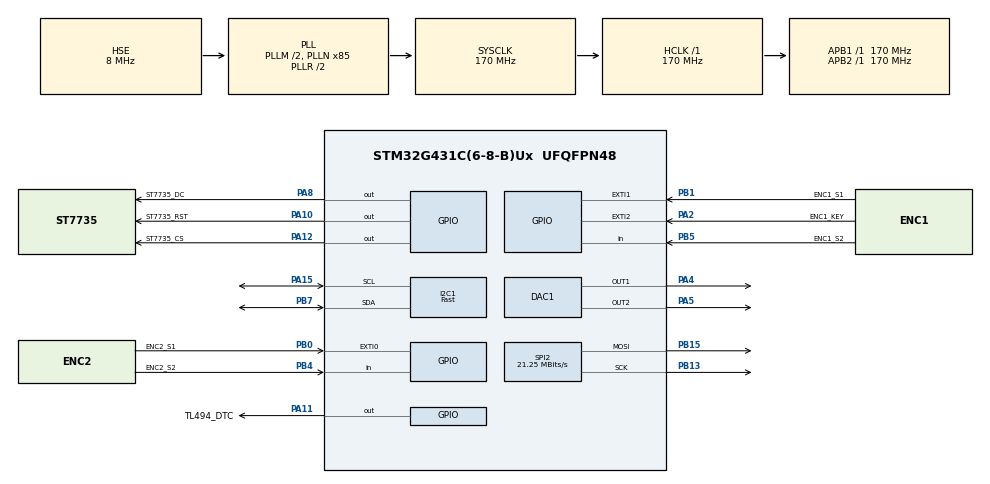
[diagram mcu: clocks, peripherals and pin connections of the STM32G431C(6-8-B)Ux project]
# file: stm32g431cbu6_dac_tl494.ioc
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DAC1.DAC_Channel-DAC_OUT2=DAC_CHANNEL_2
DAC1.DAC_OutputBuffer-DAC_OUT1=DAC_OUTPUTBUFFER_DISABLE
DAC1.DAC_OutputBuffer-DAC_OUT2=DAC_OUTPUTBUFFER_DISABLE
I2C1.I2C_Speed_Mode=I2C_Fast
I2C1.Timing=0x40621236
Mcu.Family=STM32G4
Mcu.Name=STM32G431C(6-8-B)Ux
Mcu.Package=UFQFPN48
NVIC.EXTI0_IRQn=true\:0\:0\:false\:false\:true\:true\:true\:true
NVIC.EXTI1_IRQn=true\:0\:0\:false\:false\:true\:true\:true\:true
NVIC.EXTI2_IRQn=true\:0\:0\:false\:false\:true\:true\:true\:true
NVIC.PriorityGroup=NVIC_PRIORITYGROUP_4
PA10.GPIO_Label=ST7735_RST
PA10.PinState=GPIO_PIN_SET
PA10.Signal=GPIO_Output
PA11.GPIO_Label=TL494_DTC
PA11.GPIO_ModeDefaultOutputPP=GPIO_MODE_OUTPUT_OD
PA11.GPIO_PuPd=GPIO_NOPULL
PA11.PinState=GPIO_PIN_SET
PA11.Signal=GPIO_Output
PA12.GPIO_Label=ST7735_CS
PA12.PinState=GPIO_PIN_SET
PA12.Signal=GPIO_Output
PA13.Mode=Trace_Asynchronous_SW
PA13.Signal=SYS_JTMS-SWDIO
PA14.Mode=Trace_Asynchronous_SW
PA14.Signal=SYS_JTCK-SWCLK
PA15.Mode=I2C
PA15.Signal=I2C1_SCL
PA2.GPIO_Label=ENC1_KEY
PA2.Signal=GPXTI2
PA4.Signal=COMP_DAC11_group
PA5.Signal=COMP_DAC12_group
PA8.GPIO_Label=ST7735_DC
PA8.PinState=GPIO_PIN_SET
PA8.Signal=GPIO_Output
PB0.GPIO_Label=ENC2_S1
PB0.Signal=GPXTI0
PB1.GPIO_Label=ENC1_S1
PB1.Signal=GPXTI1
PB13.Mode=TX_Only_Simplex_Unidirect_Master
PB13.Signal=SPI2_SCK
PB15.Mode=TX_Only_Simplex_Unidirect_Master
PB15.Signal=SPI2_MOSI
PB3.Mode=Trace_Asynchronous_SW
PB3.Signal=SYS_JTDO-SWO
PB4.GPIO_Label=ENC2_S2
PB4.Signal=GPIO_Input
PB5.GPIO_Label=ENC1_S2
PB5.Signal=GPIO_Input
PB7.Mode=I2C
PB7.Signal=I2C1_SDA
PC14-OSC32_IN.Mode=LSE-External-Oscillator
PC14-OSC32_IN.Signal=RCC_OSC32_IN
PC15-OSC32_OUT.Mode=LSE-External-Oscillator
PC15-OSC32_OUT.Signal=RCC_OSC32_OUT
PF0-OSC_IN.Mode=HSE-External-Oscillator
PF0-OSC_IN.Signal=RCC_OSC_IN
PF1-OSC_OUT.Mode=HSE-External-Oscillator
PF1-OSC_OUT.Signal=RCC_OSC_OUT
ProjectManager.HeapSize=0x200
ProjectManager.StackSize=0x400
ProjectManager.TargetToolchain=CMake
RCC.ADC12Freq_Value=170000000
RCC.AHBFreq_Value=170000000
RCC.APB1Freq_Value=170000000
RCC.APB1TimFreq_Value=170000000
RCC.APB2Freq_Value=170000000
RCC.APB2TimFreq_Value=170000000
RCC.CortexFreq_Value=170000000
RCC.EXTERNAL_CLOCK_VALUE=12288000
RCC.EnableCSSLSE=true
RCC.EnbaleCSS=true
RCC.HCLKFreq_Value=170000000
RCC.HSE_VALUE=8000000
RCC.HSI48_VALUE=48000000
RCC.HSI_VALUE=16000000
RCC.PLLM=RCC_PLLM_DIV2
RCC.PLLN=85
RCC.PLLSourceVirtual=RCC_PLLSOURCE_HSE
RCC.RTCClockSelection=RCC_RTCCLKSOURCE_LSE
RCC.SYSCLKFreq_VALUE=170000000
RCC.SYSCLKSource=RCC_SYSCLKSOURCE_PLLCLK
RCC.USBFreq_Value=170000000
RCC.VCOOutputFreq_Value=340000000
SH.COMP_DAC11_group.0=DAC1_OUT1,DAC_OUT1
SH.COMP_DAC12_group.0=DAC1_OUT2,DAC_OUT2
SPI2.BaudRatePrescaler=SPI_BAUDRATEPRESCALER_8
SPI2.CalculateBaudRate=21.25 MBits/s
SPI2.DataSize=SPI_DATASIZE_8BIT
SPI2.Direction=SPI_DIRECTION_2LINES
SPI2.Mode=SPI_MODE_MASTER
SPI2.NSSPMode=SPI_NSS_PULSE_DISABLE
SPI2.VirtualType=VM_MASTER
SYS.VoltageScaling=SYSCFG_VREFBUF_VOLTAGE_SCALE0
VP_RTC_VS_RTC_Activate.Mode=RTC_Enabled
VP_SYS_VS_DBSignals.Mode=DisableDeadBatterySignals
VREF+.Mode=InternalMode
VREF+.Signal=VREFBUF_OUT
board=custom

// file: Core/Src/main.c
/* USER CODE BEGIN Header */
/**
 ******************************************************************************
 * @file           : main.c
 * @brief          : Regulated power supply
 ******************************************************************************
 *WHAT I WANT FROM THIS PROJECT:
 *algorithm which transform set point of Voltage and Current into real output
 *current, power limitation feature
 *self calibration of this algorithm (is it 1,5,10V)
 *INA current calibration procedure (is it 0.1mA,1A)
 *use INA only for calibration, use ADC to read values
 *modes: main, soldering iron, usb (QC)
 *graph (sliding) and logs
 *stylish menu with sliders
 *temperature control
 *fun instead of buzzer
 *alarms notification feature: high temp, current limit,
 *FREERTOS ??
 *CMSIS ??
 *
 *
 *PERIF functions -> are for further optimization
 *
 *WHAT I FOUND:
 *current can be regulated only from 300 mA - this is lm358 problem
 *voltage rising from 0 to 20 V - 80ms
 *voltage rising from 0 to 1V - 80ms due to overshoot
 *voltage rising from 0 to 3 V - 20ms
 *overshoot from 0 to 1 V - 1.8V
 *overshoot from 0 to 3 V - 3.6V
 *overshoot from 0 to 5 V - 5.2V

 //flash writing
 STM32G431:
 quantity of pages: 63
 last Flash page -> 0x0801 F800 - 0x0801 FFFF
 quantity of banks -> only 1
 only 64 bit double word can be programmed

 TO DO:
 1) Permanent control function to maintain stable voltage/current
 2) Permanent CV/CC check
 3) Current jumps are give an overshoot in CTRL_SP_ReachBySteps

 ******************************************************************************
 */
/* USER CODE END Header */
#include "main.h"

/* USER CODE BEGIN Includes */
#include <stdio.h>

#include "MGL/MGL.h"
#include "INA226/M_INA226.h"

#include "app_types.h"
#include "ctrl.h"
#include "input.h"
#include "display.h"
#include "main.h"

/* USER CODE END Includes */

/* USER CODE BEGIN PD */
//INA settings
/////////////////////////////////////////////////////
#define INA_CALIB_VAL 2450U
/* USER CODE END PD */

DAC_HandleTypeDef hdac1;

I2C_HandleTypeDef hi2c1;

RTC_HandleTypeDef hrtc;

SPI_HandleTypeDef hspi2;

/* USER CODE BEGIN PV */
//Flash erase structure
////////////////////////////////////////////////////////////
FLASH_EraseInitTypeDef pflash;

//Encoder library structures
////////////////////////////////////////////////////////////
//extern menc_struct_type menc1, menc2; //Encoder library structures

//Timers for ms delay
////////////////////////////////////////////////////////////
uint32_t tmr_disp_screen_refresh;
uint32_t tmr_debug;

/* USER CODE END PV */

void SystemClock_Config(void);
static void MX_GPIO_Init(void);
static void MX_RTC_Init(void);
static void MX_I2C1_Init(void);
static void MX_SPI2_Init(void);
static void MX_DAC1_Init(void);
/* USER CODE BEGIN PFP */

//Encoders IRQ
////////////////////////////////////////////////////////////
void HAL_GPIO_EXTI_Callback(uint16_t GPIO_Pin) {
	if (GPIO_Pin == ENC1_KEY_Pin) {
		MENC_ClickHandlerIRQ(&menc1);
	}
	if (GPIO_Pin == ENC1_S1_Pin) {
		MENC_TurnHandlerIRQ(&menc1);
	}
	if (GPIO_Pin == ENC2_S1_Pin) {
		MENC_TurnHandlerIRQ(&menc2);
	}
}
/* USER CODE END PFP */

int main(void)
{

  /* MCU Configuration--------------------------------------------------------*/

  /* Reset of all peripherals, Initializes the Flash interface and the Systick. */
  HAL_Init();

  /* Configure the system clock */
  SystemClock_Config();

  /* Initialize all configured peripherals */
  MX_GPIO_Init();
  MX_RTC_Init();
  MX_I2C1_Init();
  MX_SPI2_Init();
  MX_DAC1_Init();
  /* USER CODE BEGIN 2 */
	//////////////////////////////////////////////////////////////////////////////////////
	////////////////////////////////INT MAIN()////////////////////////////////////////////
	//////////////////////////////////////////////////////////////////////////////////////
	HAL_Delay(10); //some delay after periphery initialization

	//Main structure initialization
	//////////////////////////////////////////////////////////////////////////////////////
	rps_type rps = { 0 };

	//RPS and VAW
	//////////////////////////////////////////////////////////////////////////////////////
	HAL_DAC_Start(&hdac1, DAC_VOLT_CH);
	HAL_DAC_Start(&hdac1, DAC_CURR_CH);
	INA_Init();
	HAL_Delay(10); //some delay after periphery initialization
	if (HAL_I2C_IsDeviceReady(&hi2c1, INA_HAL_I2C_ADDRESS, 1, 0xff) != 0) {
		rps.err.bit.ina226_off = 1;
	}
	INA_SetCalVal(INA_CALIB_VAL);

	CTRL_SAVE_TableInit(&rps);
	CTRL_SAVE_CalcDACSteps(&rps, _VOLT);
	CTRL_SAVE_CalcDACSteps(&rps, _CURR);

	//Input
	//////////////////////////////////////////////////////////////////////////////////////
	INPUT_EncStructInit();

	//Display
	//////////////////////////////////////////////////////////////////////////////////////
	DISP_GraphBarsStructInit(&rps);
	MGL_DriverInit();
	DISP_StartPage(&rps);

	//Control flags and variables initialization states
	//////////////////////////////////////////////////////////////////////////////////////
	rps.fl.ctrl_stop = 1; //tl494 control is stopped

#ifdef USE_DEBUG
	printf("While start\n\r");
	CTRL_SAVE_PrintSavedTables();
	//rps.val.i_sp_val = rps.val.i_max;
#endif

//////////////////////////////////////////////////////////////////////////////////////
  /* USER CODE END 2 */

  /* Infinite loop */
  /* USER CODE BEGIN WHILE */

	while (1) {
		INPUT_EncHandler(&rps);

		if (MillisDelay(&tmr_disp_screen_refresh, SCREEN_REFRESH_RATE)) {
			CTRL_VAW_Conversion(&rps);
			DISP_MeasPage(&rps);
		}

		CTRL_Handler(&rps);

#ifdef USE_DEBUG
//		if (MillisDelay(&ms_tmr_debug, DEBUG_REFRESH)) {
//			printf("U:");
//			SERV_Print_FakeFloat(rps.val.volt, 5, 2);
//			printf("   I:");
//			SERV_Print_FakeFloat(rps.val.curr, 5, 3);
//			printf("   P:");
//			SERV_Print_FakeFloat(rps.val.watt, 5, 1);
//
//			printf("   U sp:");
//			SERV_Print_FakeFloat(rps.val.u_sp_val, 5, 2);
//			printf("   I sp:");
//			SERV_Print_FakeFloat(rps.val.i_sp_val, 5, 3);
//
//			printf("   DAC U:%u", rps.val.u_dac);
//			printf("   DAC I:%u\n", rps.val.i_dac);
//
//			printf("RPS Error No: %x\n", rps.err.all_errors);
//			MGL_PrintErr();
//		}
#endif
		//////////////////////////////////////////////////////////////////////////////////////
		////////////////////////////////////END///////////////////////////////////////////////
		//////////////////////////////////////////////////////////////////////////////////////

    /* USER CODE END WHILE */

	}
}

void SystemClock_Config(void)
{
  RCC_OscInitTypeDef RCC_OscInitStruct = {0};
  RCC_ClkInitTypeDef RCC_ClkInitStruct = {0};

  /** Configure the main internal regulator output voltage
  */
  HAL_PWREx_ControlVoltageScaling(PWR_REGULATOR_VOLTAGE_SCALE1_BOOST);

  /** Configure LSE Drive Capability
  */
  HAL_PWR_EnableBkUpAccess();
  __HAL_RCC_LSEDRIVE_CONFIG(RCC_LSEDRIVE_LOW);

  /** Initializes the RCC Oscillators according to the specified parameters
  * in the RCC_OscInitTypeDef structure.
  */
  RCC_OscInitStruct.OscillatorType = RCC_OSCILLATORTYPE_HSE|RCC_OSCILLATORTYPE_LSE;
  RCC_OscInitStruct.HSEState = RCC_HSE_ON;
  RCC_OscInitStruct.LSEState = RCC_LSE_ON;
  RCC_OscInitStruct.PLL.PLLState = RCC_PLL_ON;
  RCC_OscInitStruct.PLL.PLLSource = RCC_PLLSOURCE_HSE;
  RCC_OscInitStruct.PLL.PLLM = RCC_PLLM_DIV2;
  RCC_OscInitStruct.PLL.PLLN = 85;
  RCC_OscInitStruct.PLL.PLLP = RCC_PLLP_DIV2;
  RCC_OscInitStruct.PLL.PLLQ = RCC_PLLQ_DIV2;
  RCC_OscInitStruct.PLL.PLLR = RCC_PLLR_DIV2;
  if (HAL_RCC_OscConfig(&RCC_OscInitStruct) != HAL_OK)
  {
    Error_Handler();
  }

  /** Initializes the CPU, AHB and APB buses clocks
  */
  RCC_ClkInitStruct.ClockType = RCC_CLOCKTYPE_HCLK|RCC_CLOCKTYPE_SYSCLK
                              |RCC_CLOCKTYPE_PCLK1|RCC_CLOCKTYPE_PCLK2;
  RCC_ClkInitStruct.SYSCLKSource = RCC_SYSCLKSOURCE_PLLCLK;
  RCC_ClkInitStruct.AHBCLKDivider = RCC_SYSCLK_DIV1;
  RCC_ClkInitStruct.APB1CLKDivider = RCC_HCLK_DIV1;
  RCC_ClkInitStruct.APB2CLKDivider = RCC_HCLK_DIV1;

  if (HAL_RCC_ClockConfig(&RCC_ClkInitStruct, FLASH_LATENCY_4) != HAL_OK)
  {
    Error_Handler();
  }

  /** Enables the Clock Security System
  */
  HAL_RCC_EnableCSS();

  /** Enables the Clock Security System
  */
  HAL_RCC_EnableLSECSS();
}

static void MX_DAC1_Init(void)
{

  DAC_ChannelConfTypeDef sConfig = {0};

  /** DAC Initialization
  */
  hdac1.Instance = DAC1;
  if (HAL_DAC_Init(&hdac1) != HAL_OK)
  {
    Error_Handler();
  }

  /** DAC channel OUT1 config
  */
  sConfig.DAC_HighFrequency = DAC_HIGH_FREQUENCY_INTERFACE_MODE_AUTOMATIC;
  sConfig.DAC_DMADoubleDataMode = DISABLE;
  sConfig.DAC_SignedFormat = DISABLE;
  sConfig.DAC_SampleAndHold = DAC_SAMPLEANDHOLD_DISABLE;
  sConfig.DAC_Trigger = DAC_TRIGGER_NONE;
  sConfig.DAC_Trigger2 = DAC_TRIGGER_NONE;
  sConfig.DAC_OutputBuffer = DAC_OUTPUTBUFFER_DISABLE;
  sConfig.DAC_ConnectOnChipPeripheral = DAC_CHIPCONNECT_EXTERNAL;
  sConfig.DAC_UserTrimming = DAC_TRIMMING_FACTORY;
  if (HAL_DAC_ConfigChannel(&hdac1, &sConfig, DAC_CHANNEL_1) != HAL_OK)
  {
    Error_Handler();
  }

  /** DAC channel OUT2 config
  */
  if (HAL_DAC_ConfigChannel(&hdac1, &sConfig, DAC_CHANNEL_2) != HAL_OK)
  {
    Error_Handler();
  }

}

static void MX_I2C1_Init(void)
{

  hi2c1.Instance = I2C1;
  hi2c1.Init.Timing = 0x40621236;
  hi2c1.Init.OwnAddress1 = 0;
  hi2c1.Init.AddressingMode = I2C_ADDRESSINGMODE_7BIT;
  hi2c1.Init.DualAddressMode = I2C_DUALADDRESS_DISABLE;
  hi2c1.Init.OwnAddress2 = 0;
  hi2c1.Init.OwnAddress2Masks = I2C_OA2_NOMASK;
  hi2c1.Init.GeneralCallMode = I2C_GENERALCALL_DISABLE;
  hi2c1.Init.NoStretchMode = I2C_NOSTRETCH_DISABLE;
  if (HAL_I2C_Init(&hi2c1) != HAL_OK)
  {
    Error_Handler();
  }

  /** Configure Analogue filter
  */
  if (HAL_I2CEx_ConfigAnalogFilter(&hi2c1, I2C_ANALOGFILTER_ENABLE) != HAL_OK)
  {
    Error_Handler();
  }

  /** Configure Digital filter
  */
  if (HAL_I2CEx_ConfigDigitalFilter(&hi2c1, 0) != HAL_OK)
  {
    Error_Handler();
  }

}

static void MX_RTC_Init(void)
{

  /** Initialize RTC Only
  */
  hrtc.Instance = RTC;
  hrtc.Init.HourFormat = RTC_HOURFORMAT_24;
  hrtc.Init.AsynchPrediv = 127;
  hrtc.Init.SynchPrediv = 255;
  hrtc.Init.OutPut = RTC_OUTPUT_DISABLE;
  hrtc.Init.OutPutRemap = RTC_OUTPUT_REMAP_NONE;
  hrtc.Init.OutPutPolarity = RTC_OUTPUT_POLARITY_HIGH;
  hrtc.Init.OutPutType = RTC_OUTPUT_TYPE_OPENDRAIN;
  hrtc.Init.OutPutPullUp = RTC_OUTPUT_PULLUP_NONE;
  if (HAL_RTC_Init(&hrtc) != HAL_OK)
  {
    Error_Handler();
  }

}

static void MX_SPI2_Init(void)
{

  /* SPI2 parameter configuration*/
  hspi2.Instance = SPI2;
  hspi2.Init.Mode = SPI_MODE_MASTER;
  hspi2.Init.Direction = SPI_DIRECTION_2LINES;
  hspi2.Init.DataSize = SPI_DATASIZE_8BIT;
  hspi2.Init.CLKPolarity = SPI_POLARITY_LOW;
  hspi2.Init.CLKPhase = SPI_PHASE_1EDGE;
  hspi2.Init.NSS = SPI_NSS_SOFT;
  hspi2.Init.BaudRatePrescaler = SPI_BAUDRATEPRESCALER_8;
  hspi2.Init.FirstBit = SPI_FIRSTBIT_MSB;
  hspi2.Init.TIMode = SPI_TIMODE_DISABLE;
  hspi2.Init.CRCCalculation = SPI_CRCCALCULATION_DISABLE;
  hspi2.Init.CRCPolynomial = 7;
  hspi2.Init.CRCLength = SPI_CRC_LENGTH_DATASIZE;
  hspi2.Init.NSSPMode = SPI_NSS_PULSE_DISABLE;
  if (HAL_SPI_Init(&hspi2) != HAL_OK)
  {
    Error_Handler();
  }

}

static void MX_GPIO_Init(void)
{
  GPIO_InitTypeDef GPIO_InitStruct = {0};

  /* GPIO Ports Clock Enable */
  __HAL_RCC_GPIOC_CLK_ENABLE();
  __HAL_RCC_GPIOF_CLK_ENABLE();
  __HAL_RCC_GPIOA_CLK_ENABLE();
  __HAL_RCC_GPIOB_CLK_ENABLE();

  /*Configure GPIO pin Output Level */
  HAL_GPIO_WritePin(GPIOA, ST7735_DC_Pin|ST7735_RST_Pin|TL494_DTC_Pin|ST7735_CS_Pin, GPIO_PIN_SET);

  /*Configure GPIO pin : ENC1_KEY_Pin */
  GPIO_InitStruct.Pin = ENC1_KEY_Pin;
  GPIO_InitStruct.Mode = GPIO_MODE_IT_RISING;
  GPIO_InitStruct.Pull = GPIO_NOPULL;
  HAL_GPIO_Init(ENC1_KEY_GPIO_Port, &GPIO_InitStruct);

  /*Configure GPIO pins : ENC2_S1_Pin ENC1_S1_Pin */
  GPIO_InitStruct.Pin = ENC2_S1_Pin|ENC1_S1_Pin;
  GPIO_InitStruct.Mode = GPIO_MODE_IT_RISING;
  GPIO_InitStruct.Pull = GPIO_NOPULL;
  HAL_GPIO_Init(GPIOB, &GPIO_InitStruct);

  /*Configure GPIO pins : ST7735_DC_Pin ST7735_RST_Pin ST7735_CS_Pin */
  GPIO_InitStruct.Pin = ST7735_DC_Pin|ST7735_RST_Pin|ST7735_CS_Pin;
  GPIO_InitStruct.Mode = GPIO_MODE_OUTPUT_PP;
  GPIO_InitStruct.Pull = GPIO_NOPULL;
  GPIO_InitStruct.Speed = GPIO_SPEED_FREQ_LOW;
  HAL_GPIO_Init(GPIOA, &GPIO_InitStruct);

  /*Configure GPIO pin : TL494_DTC_Pin */
  GPIO_InitStruct.Pin = TL494_DTC_Pin;
  GPIO_InitStruct.Mode = GPIO_MODE_OUTPUT_OD;
  GPIO_InitStruct.Pull = GPIO_NOPULL;
  GPIO_InitStruct.Speed = GPIO_SPEED_FREQ_LOW;
  HAL_GPIO_Init(TL494_DTC_GPIO_Port, &GPIO_InitStruct);

  /*Configure GPIO pins : ENC2_S2_Pin ENC1_S2_Pin */
  GPIO_InitStruct.Pin = ENC2_S2_Pin|ENC1_S2_Pin;
  GPIO_InitStruct.Mode = GPIO_MODE_INPUT;
  GPIO_InitStruct.Pull = GPIO_NOPULL;
  HAL_GPIO_Init(GPIOB, &GPIO_InitStruct);

  /* EXTI interrupt init*/
  HAL_NVIC_SetPriority(EXTI0_IRQn, 0, 0);
  HAL_NVIC_EnableIRQ(EXTI0_IRQn);

  HAL_NVIC_SetPriority(EXTI1_IRQn, 0, 0);
  HAL_NVIC_EnableIRQ(EXTI1_IRQn);

  HAL_NVIC_SetPriority(EXTI2_IRQn, 0, 0);
  HAL_NVIC_EnableIRQ(EXTI2_IRQn);

}

void Error_Handler(void)
{
	__disable_irq();
	while (1) {
	}
}
